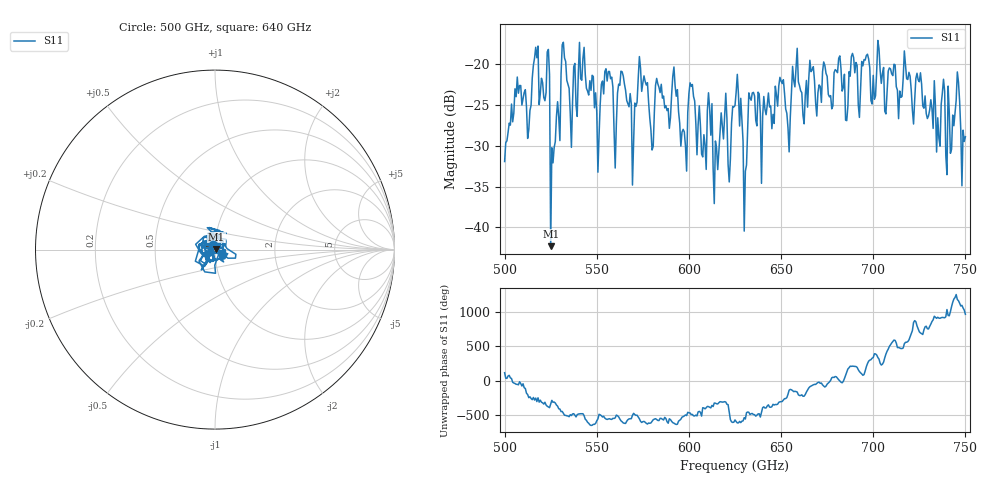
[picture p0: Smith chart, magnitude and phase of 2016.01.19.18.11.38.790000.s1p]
!Created with skrf (http://scikit-rf.org).
# GHz S RI R 50.0
!freq ReS11 ImS11
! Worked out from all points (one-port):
!   401 points, 500 GHz to 750 GHz, reference 50 ohm
!   lowest |S11| = -42.3 dB at 525 GHz (marker M1), VSWR 1.02, Z = 50.7 + j0.288 ohm
!   |S11| at or under -10 dB: start of sweep to end of sweep
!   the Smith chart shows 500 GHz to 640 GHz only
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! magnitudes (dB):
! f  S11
! 500 GHz  -31.9
! 506.9 GHz  -21.6
! 513.1 GHz  -28.0
! 516.9 GHz  -17.9
! 523.1 GHz  -18.5
! 525 GHz  -42.3
! 526.2 GHz  -32.1
! 531.2 GHz  -17.6
! 535.6 GHz  -26.1
! 541.9 GHz  -21.9
! 550 GHz  -25.8
! 562.5 GHz  -22.6
! 570 GHz  -29.5
! 573.8 GHz  -20.5
! 580 GHz  -30.5
! 593.8 GHz  -23.1
! 597.5 GHz  -28.3
! 601.9 GHz  -22.5
! 608.1 GHz  -28.6
! 611.2 GHz  -25.4
! 614.4 GHz  -29.4
! 625 GHz  -25.1
! 630.6 GHz  -33.1
! 633.8 GHz  -24.4
! 656.2 GHz  -20.2
! 687.5 GHz  -21.4
! 718.8 GHz  -21.9
! 750 GHz  -28.9
